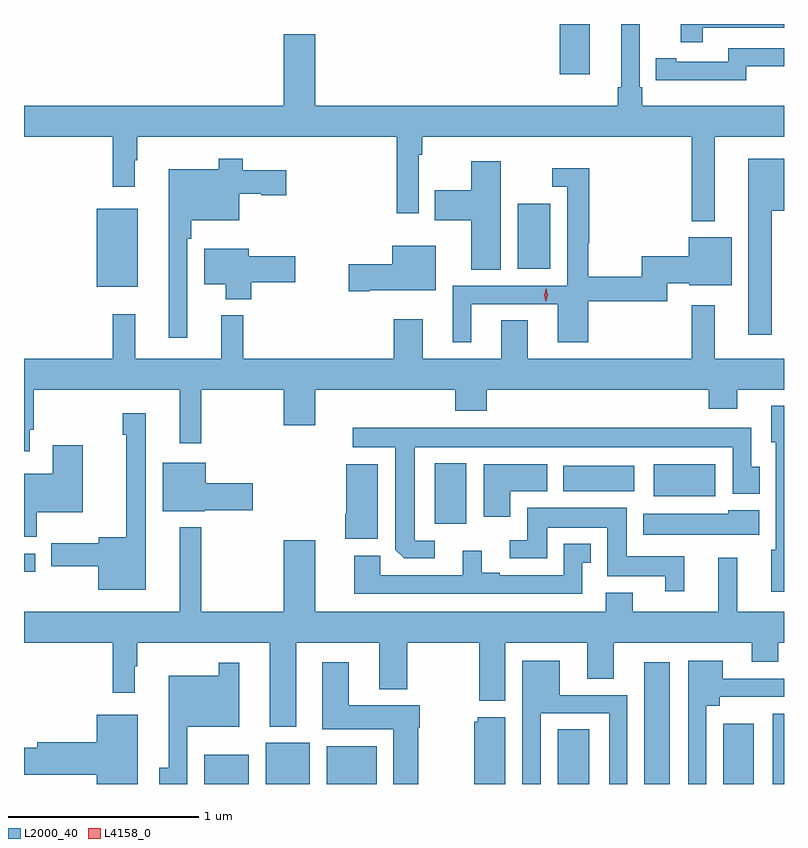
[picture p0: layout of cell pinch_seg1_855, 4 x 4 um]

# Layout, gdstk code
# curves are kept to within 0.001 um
import gdstk
lib = gdstk.Library(unit=1e-6, precision=1e-09)
def R(c, l, rs):  # rectangles x0, y0, x1, y1
    for r in rs: c.add(gdstk.rectangle(r[:2], r[2:], *l))
def P(c, l, *ps):  # polygons
    for p in ps: c.add(gdstk.Polygon(p, *l))
L2000_40 = (2000, 40)
L4158_0 = (4158, 0)

pinch_seg1_855 = lib.new_cell('pinch_seg1_855')
R(pinch_seg1_855, L2000_40, [(500.252,519.021,500.488,519.175), (500.576,519.021,500.809,519.238), (500.897,519.021,501.16,519.22), (502.112,519.021,502.279,519.308), (502.568,519.021,502.702,519.661), (502.985,519.021,503.146,519.337), (503.246,519.021,503.304,519.391), (499.304,520.137,499.363,520.233), (501.467,520.392,501.631,520.708), (502.619,520.535,502.942,520.705), (502.142,520.562,502.516,520.696), (499.688,521.639,499.903,522.049), (501.902,521.732,502.075,522.076), (502.124,522.756,502.282,523.021)])
P(pinch_seg1_855, L2000_40, [(502.877,523.002),(503.304,523.002),(503.304,523.021),(502.76,523.021),(502.76,522.924),(502.877,522.924)],
  [(502.939,522.428),(503.304,522.428),(503.304,522.592),(502.559,522.592),(502.559,522.688),(502.545,522.688),(502.545,523.021),(502.448,523.021),(502.448,522.688),(502.429,522.688),(502.429,522.592),(500.836,522.592),(500.836,522.967),(500.672,522.967),(500.672,522.592),(499.304,522.592),(499.304,522.428),(499.771,522.428),(499.771,522.165),(499.888,522.165),(499.888,522.305),(499.9,522.305),(499.9,522.428),(501.265,522.428),(501.265,522.024),(501.381,522.024),(501.381,522.332),(501.401,522.332),(501.401,522.428),(502.818,522.428),(502.818,521.984),(502.939,521.984)],
  [(503.106,522.798),(503.304,522.798),(503.304,522.894),(503.01,522.894),(503.01,522.822),(502.738,522.822),(502.738,522.842),(502.63,522.842),(502.63,522.726),(502.738,522.726),(502.738,522.725),(503.106,522.725)],
  [(503.239,522.038),(503.304,522.038),(503.304,522.313),(503.117,522.313),(503.117,521.385),(503.239,521.385)],
  [(500.163,521.891),(500.183,521.891),(500.183,521.987),(500.437,521.987),(500.437,522.128),(500.552,522.128),(500.552,522.121),(500.683,522.121),(500.683,522.25),(500.456,522.25),(500.456,522.313),(500.328,522.313),(500.328,522.256),(500.066,522.256),(500.066,521.37),(500.163,521.37)],
  [(501.814,522.298),(501.659,522.298),(501.659,522.145),(501.466,522.145),(501.466,521.987),(501.659,521.987),(501.659,521.728),(501.814,521.728)],
  [(501.658,521.547),(502.112,521.547),(502.112,521.346),(502.274,521.346),(502.274,521.562),(502.69,521.562),(502.69,521.656),(502.806,521.656),(502.806,521.645),(503.029,521.645),(503.029,521.899),(502.802,521.899),(502.802,521.798),(502.555,521.798),(502.555,521.69),(502.273,521.69),(502.273,521.867),(502.28,521.867),(502.28,522.262),(502.083,522.262),(502.083,522.165),(502.164,522.165),(502.164,521.643),(501.56,521.643),(501.56,521.346),(501.658,521.346)],
  [(501.124,521.621),(501.472,521.621),(501.472,521.854),(501.242,521.854),(501.242,521.756),(501.012,521.756),(501.012,521.614),(501.124,521.614)],
  [(500.501,521.662),(500.731,521.662),(500.731,521.799),(500.488,521.799),(500.488,521.839),(500.252,521.839),(500.252,521.651),(500.366,521.651),(500.366,521.573),(500.501,521.573)],
  [(502.939,521.542),(502.818,521.542),(502.818,521.26),(501.955,521.26),(501.955,521.462),(501.815,521.462),(501.815,521.26),(501.403,521.26),(501.403,521.467),(501.251,521.467),(501.251,521.26),(500.459,521.26),(500.459,521.488),(500.342,521.488),(500.342,521.26),(499.889,521.26),(499.889,521.494),(499.771,521.494),(499.771,521.26),(499.304,521.26),(499.304,520.773),(499.335,520.773),(499.335,520.885),(499.355,520.885),(499.355,521.096),(500.123,521.096),(500.123,520.815),(500.237,520.815),(500.237,521.096),(500.672,521.096),(500.672,520.908),(500.836,520.908),(500.836,521.096),(501.575,521.096),(501.575,520.985),(501.74,520.985),(501.74,521.096),(502.907,521.096),(502.907,520.997),(503.059,520.997),(503.059,521.096),(503.304,521.096),(503.304,521.26),(502.939,521.26)],
  [(503.304,521.011),(503.237,521.011),(503.237,520.821),(503.261,520.821),(503.261,520.254),(503.237,520.254),(503.237,520.032),(503.304,520.032)],
  [(499.945,520.972),(499.824,520.972),(499.824,520.859),(499.841,520.859),(499.841,520.319),(499.698,520.319),(499.698,520.288),(499.448,520.288),(499.448,520.166),(499.694,520.166),(499.694,520.043),(499.945,520.043)],
  [(501.466,520.302),(501.361,520.302),(501.361,520.793),(503.034,520.793),(503.034,520.548),(503.176,520.548),(503.176,520.692),(503.131,520.692),(503.131,520.897),(501.033,520.897),(501.033,520.793),(501.257,520.793),(501.258,520.255),(501.304,520.209),(501.466,520.209)],
  [(499.372,520.451),(499.612,520.451),(499.612,520.804),(499.454,520.804),(499.454,520.654),(499.304,520.654),(499.304,520.322),(499.372,520.322)],
  [(500.256,520.463),(500.509,520.463),(500.509,520.605),(500.26,520.605),(500.26,520.711),(500.033,520.711),(500.033,520.457),(500.256,520.457)],
  [(501.862,520.562),(502.057,520.562),(502.057,520.705),(501.725,520.705),(501.725,520.428),(501.862,520.428)],
  [(501.166,520.705),(501.001,520.705),(501.001,520.444),(500.996,520.444),(500.996,520.313),(501.166,520.313)],
  [(502.778,520.219),(502.477,520.219),(502.477,520.474),(501.953,520.474),(501.953,520.305),(501.861,520.305),(501.861,520.209),(502.057,520.209),(502.057,520.37),(502.373,520.37),(502.373,520.115),(502.679,520.115),(502.679,520.035),(502.778,520.035)],
  [(503.173,520.462),(503.01,520.462),(503.01,520.444),(502.562,520.444),(502.562,520.334),(503.173,520.334)],
  [(500.737,519.764),(501.173,519.764),(501.173,519.521),(501.321,519.521),(501.321,519.764),(501.7,519.764),(501.7,519.458),(501.838,519.458),(501.838,519.764),(502.268,519.764),(502.268,519.574),(502.408,519.574),(502.408,519.764),(503.135,519.764),(503.135,519.665),(503.275,519.665),(503.275,519.764),(503.304,519.764),(503.304,519.928),(503.057,519.928),(503.057,520.213),(502.958,520.213),(502.958,519.928),(502.507,519.928),(502.507,520.027),(502.367,520.027),(502.367,519.928),(500.836,519.928),(500.836,520.303),(500.672,520.303),(500.672,519.928),(500.237,519.928),(500.237,520.372),(500.123,520.372),(500.123,519.928),(499.304,519.928),(499.304,519.764),(499.771,519.764),(499.771,519.501),(499.888,519.501),(499.888,519.641),(499.9,519.641),(499.9,519.764),(500.597,519.764),(500.597,519.323),(500.737,519.323)],
  [(502.242,520.185),(502.288,520.185),(502.288,520.285),(502.146,520.285),(502.146,520.119),(501.808,520.119),(501.808,520.132),(501.712,520.132),(501.712,520.249),(501.614,520.249),(501.614,520.119),(501.18,520.119),(501.18,520.222),(501.041,520.222),(501.041,520.023),(502.242,520.023)],
  [(502.023,519.393),(502.383,519.393),(502.383,519.021),(502.479,519.021),(502.479,519.489),(502.123,519.489),(502.123,519.67),(501.927,519.67),(501.927,519.021),(502.023,519.021)],
  [(502.896,519.434),(502.966,519.434),(502.966,519.48),(503.304,519.48),(503.304,519.576),(502.981,519.576),(502.981,519.67),(502.8,519.67),(502.8,519.021),(502.896,519.021)],
  [(501.378,519.318),(501.388,519.318),(501.388,519.436),(501.013,519.436),(501.013,519.661),(500.873,519.661),(500.873,519.308),(501.248,519.308),(501.248,519.021),(501.378,519.021)],
  [(500.164,519.323),(500.436,519.323),(500.436,519.658),(500.328,519.658),(500.328,519.592),(500.066,519.592),(500.066,519.106),(500.015,519.106),(500.015,519.021),(500.164,519.021)],
  [(499.903,519.385),(499.688,519.385),(499.688,519.242),(499.373,519.242),(499.373,519.212),(499.304,519.212),(499.304,519.07),(499.688,519.07),(499.688,519.021),(499.903,519.021)],
  [(501.838,519.373),(501.693,519.373),(501.693,519.348),(501.674,519.348),(501.674,519.021),(501.838,519.021)])
P(pinch_seg1_855, L4158_0, [(502.05,521.559),(502.05,521.559),(502.041,521.595),(502.053,521.631),(502.053,521.631),(502.053,521.631),(502.061,521.594),(502.05,521.559)])

lib.write_gds('pinch_seg1_855.gds')
